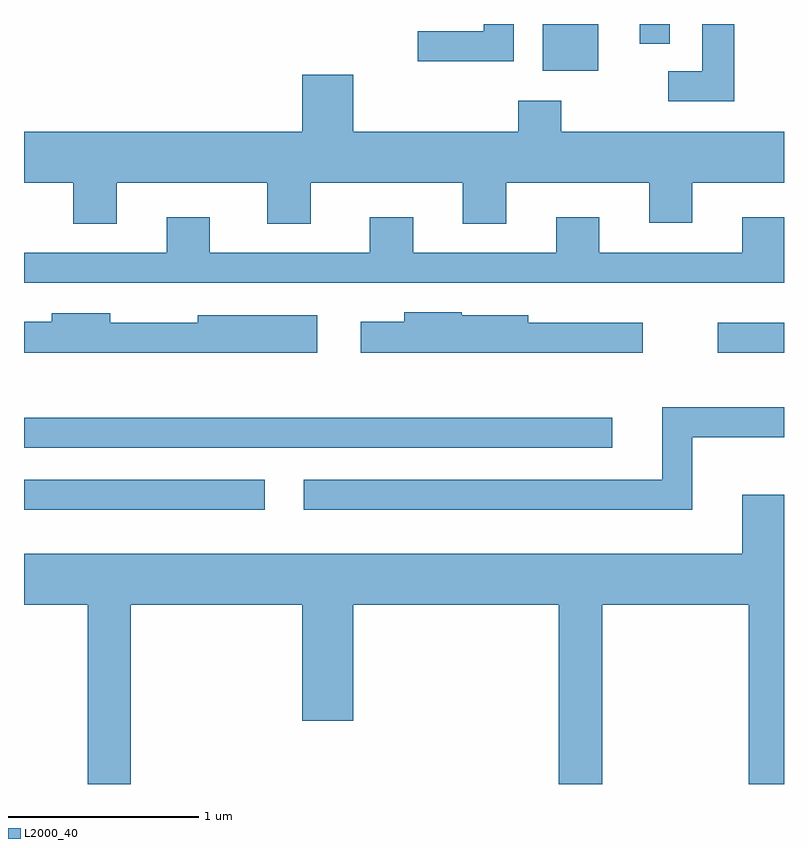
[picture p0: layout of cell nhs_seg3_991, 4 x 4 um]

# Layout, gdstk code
import gdstk
lib = gdstk.Library(unit=1e-6, precision=1e-09)
def R(c, l, rs):  # rectangles x0, y0, x1, y1
    for r in rs: c.add(gdstk.rectangle(r[:2], r[2:], *l))
def P(c, l, *ps):  # polygons
    for p in ps: c.add(gdstk.Polygon(p, *l))
L2000_40 = (2000, 40)

nhs_seg3_991 = lib.new_cell('nhs_seg3_991')
R(nhs_seg3_991, L2000_40, [(213.611,1195.336,214.878,1195.494), (213.611,1195.661,216.708,1195.819), (217.263,1196.161,217.611,1196.319), (216.341,1197.646,216.634,1197.892), (216.851,1197.788,217.009,1197.892)])
P(nhs_seg3_991, L2000_40, [(217.349,1197.892),(217.181,1197.892),(217.181,1197.644),(217.003,1197.644),(217.003,1197.486),(217.349,1197.486)],
  [(216.189,1197.892),(216.031,1197.892),(216.031,1197.854),(215.683,1197.854),(215.683,1197.696),(216.189,1197.696)],
  [(214.099,1197.056),(214.891,1197.056),(214.891,1196.841),(215.119,1196.841),(215.119,1197.056),(215.921,1197.056),(215.921,1196.841),(216.149,1196.841),(216.149,1197.056),(216.901,1197.056),(216.901,1196.846),(217.129,1196.846),(217.129,1197.056),(217.611,1197.056),(217.611,1197.324),(216.439,1197.324),(216.439,1197.489),(216.211,1197.489),(216.211,1197.324),(215.344,1197.324),(215.344,1197.624),(215.076,1197.624),(215.076,1197.324),(213.611,1197.324),(213.611,1197.056),(213.871,1197.056),(213.871,1196.841),(214.099,1196.841)],
  [(217.611,1196.874),(217.391,1196.874),(217.391,1196.689),(216.639,1196.689),(216.639,1196.874),(216.411,1196.874),(216.411,1196.689),(215.659,1196.689),(215.659,1196.874),(215.431,1196.874),(215.431,1196.689),(214.589,1196.689),(214.589,1196.874),(214.361,1196.874),(214.361,1196.689),(213.611,1196.689),(213.611,1196.531),(217.611,1196.531)],
  [(216.868,1196.319),(216.264,1196.319),(216.264,1196.359),(215.915,1196.359),(215.915,1196.374),(215.611,1196.374),(215.611,1196.324),(215.383,1196.324),(215.383,1196.161),(216.868,1196.161)],
  [(215.154,1196.359),(214.526,1196.359),(214.526,1196.319),(214.064,1196.319),(214.064,1196.369),(213.756,1196.369),(213.756,1196.324),(213.611,1196.324),(213.611,1196.161),(215.154,1196.161)],
  [(217.129,1195.716),(217.611,1195.716),(217.611,1195.874),(216.971,1195.874),(216.971,1195.494),(215.083,1195.494),(215.083,1195.336),(217.129,1195.336)],
  [(214.174,1194.836),(215.076,1194.836),(215.076,1194.226),(215.344,1194.226),(215.344,1194.836),(216.426,1194.836),(216.426,1193.892),(216.654,1193.892),(216.654,1194.836),(217.426,1194.836),(217.426,1193.892),(217.611,1193.892),(217.611,1195.414),(217.391,1195.414),(217.391,1195.104),(213.611,1195.104),(213.611,1194.836),(213.946,1194.836),(213.946,1193.892),(214.174,1193.892)])

lib.write_gds('nhs_seg3_991.gds')
